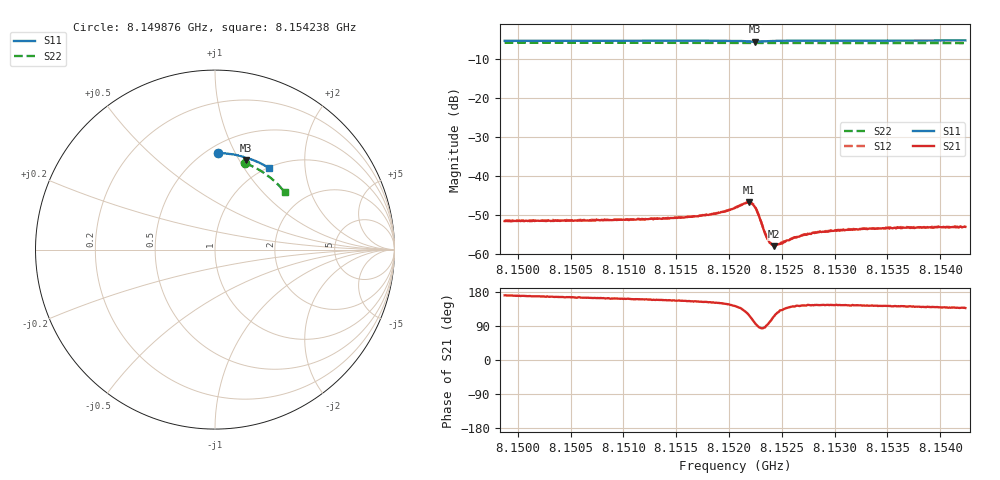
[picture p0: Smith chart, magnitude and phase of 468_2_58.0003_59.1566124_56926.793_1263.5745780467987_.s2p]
#  HZ  S  RI  R  50.00
! Rohde & Schwarz Vector Network Analyzer
! Rohde-Schwarz,ZNB20-2Port,1311601062101988,3.16
! Created: UTC 3/21/2024, 1:11:15 AM
! freq[Hz]  re:S11  im:S11  re:S21  im:S21  re:S12  im:S12  re:S22  im:S22
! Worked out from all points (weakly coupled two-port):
!   401 points, 8.149876 GHz to 8.154238 GHz, reference 50 ohm
!   highest |S21| = -46.80 dB at 8.152187 GHz (marker M1); lowest = -58.0 dB at 8.152427 GHz (marker M2)
!   lowest |S11| = -5.6 dB at 8.152242 GHz (marker M3), VSWR 3.22, Z = 38.7 + j53.2 ohm
!   |S11| at or under -10 dB: nowhere
!   |S22| runs from -6.0 to -5.9 dB; largest |S21 - S12| = 0.00012
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8.1498757e9  0.0151 0.5378  -0.00259 0.000432  -0.00259 0.000508  0.1694 0.4808
8.1506063e9  0.066 0.5351  -0.00257 0.00071  -0.00258 0.000758  0.2124 0.4622
8.1513369e9  0.1167 0.5276  -0.00263 0.00103  -0.00264 0.00106  0.2535 0.4397
8.1515659e9  0.1327 0.5241  -0.00266 0.00118  -0.00269 0.00123  0.2658 0.4319
8.1518385e9  0.1523 0.5186  -0.00283 0.00153  -0.00284 0.00158  0.2803 0.4224
8.1519694e9  0.1622 0.5148  -0.00298 0.00185  -0.00299 0.00192  0.2871 0.4174
8.1520566e9  0.1687 0.511  -0.00307 0.00236  -0.00307 0.00243  0.2916 0.4139
8.1521548e9  0.1747 0.5035  -0.00271 0.00351  -0.00271 0.00359  0.2964 0.41
8.1521875e9  0.1749 0.5002  -0.0022 0.00401  -0.00216 0.00405  0.2979 0.4087
8.1522202e9  0.173 0.4977  -0.00128 0.00417  -0.0012 0.00424  0.2993 0.4074
8.152242e9  0.1712 0.4975  -0.000603 0.00399  -0.000567 0.00403  0.3004 0.4067
8.1522747e9  0.1692 0.4995  9.43e-05 0.00326  0.000142 0.00331  0.3019 0.4055
8.1523401e9  0.1721 0.5051  0.000133 0.00183  0.000114 0.00187  0.3052 0.4032
8.1523619e9  0.174 0.5059  -7.19e-05 0.00157  -5.73e-05 0.00158  0.3064 0.4025
8.1523947e9  0.1771 0.5069  -0.000312 0.00132  -0.000299 0.00134  0.3081 0.4011
8.1524274e9  0.1803 0.5072  -0.000543 0.00113  -0.000548 0.00118  0.3096 0.3998
8.1524601e9  0.1832 0.507  -0.000762 0.00107  -0.000728 0.00109  0.3113 0.3986
8.1526346e9  0.1971 0.5041  -0.0013 0.000987  -0.00128 0.000996  0.32 0.3915
8.1527872e9  0.208 0.5006  -0.00151 0.00106  -0.0015 0.00108  0.3272 0.3849
8.1531035e9  0.2292 0.4921  -0.00165 0.00116  -0.00166 0.00121  0.3419 0.3714
8.1535178e9  0.2555 0.4797  -0.00167 0.00128  -0.00172 0.00134  0.36 0.3528
8.1542376e9  0.2989 0.4553  -0.00162 0.0015  -0.00164 0.00153  0.3894 0.3184
